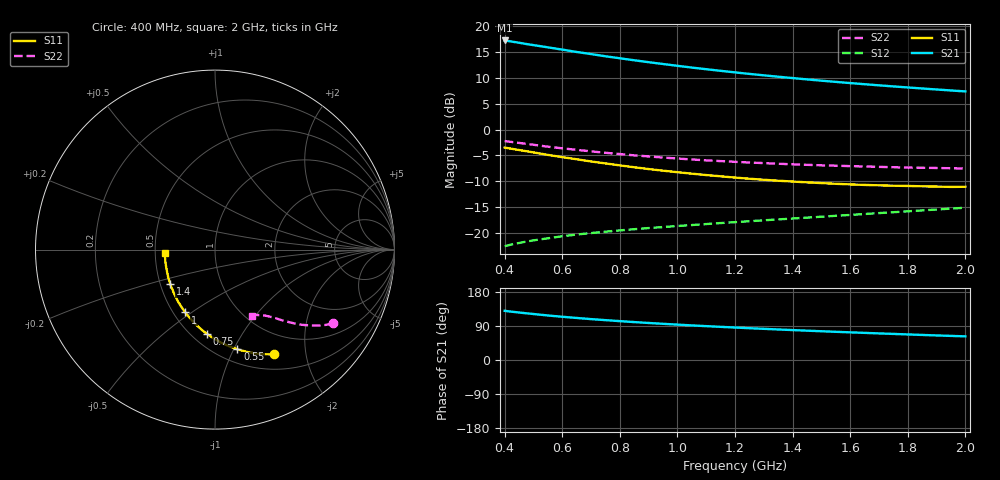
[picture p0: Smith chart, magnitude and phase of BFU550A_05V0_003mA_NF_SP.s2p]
! Filename:  P:\Prog\Test\Noise\ATS_data\Testdata_Net\06 Compressed Noise after Statistics\BFU550A_APG2013_35_C05_05p0V_003mA_NF_CM01_D.sf
! Date/Time: Tue 16/Apr/2013 15:11:29
! BFU550A_APG2013_35_C05_05p0V_1to35mA_NF_CM01_Bias3_R.sf
! Noise Parameter Data File
! BFU550A_APG2013_35_C05_05p0V_1to35mA_SP_CM01
! Date/time: Mon Apr 15 16:43:38 2013
! VAR V_out= 5.000000
! VAR I_out= 3.000000
! VAR V_in= 0.808200
! VAR I_in= 0.031405
! Device data file deembeded for feedlines and parallel
! Original file: \06 Compressed Noise after Statistics\BFU550A_APG2013_35_C05_05p0V_003mA_NF_CM01_R.sf
! Feed-files: PR017V01_150413_Feed1.s2p, PR017V01_150413_Feed2.s2p
! Parallel-file: PR017V01_150413_Par.s2p
# MHz S MA R 50
!  Freq-MHz  S11-mag  S11-arg  S21-mag  S21-arg  S12-mag  S12-arg  S22-mag  S22-arg
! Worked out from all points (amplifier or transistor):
!   37 points, 400 MHz to 2 GHz, reference 50 ohm
!   highest |S21| = 17.3 dB at 400 MHz (marker M1)
!   |S21| within 3 dB of that: start of sweep to 742.9 MHz
!   unconditionally stable (mu >= 1): 1.875 GHz to end of sweep
!   at 500 MHz: K = 0.44, MSG = 18.9 dB, |S12| = -21.4 dB
!   at 1.1 GHz: K = 0.80, MSG = 15.0 dB, |S12| = -18.3 dB
!   at 2 GHz: K = 1.01, MAG = 10.6 dB, |S12| = -15.1 dB
!   lowest NFmin = 0.53 dB at 420 MHz
!   S11 on the Smith chart (normalised r, x): 400 MHz: 0.70, -1.48; 550 MHz: 0.63, -1.03; 750 MHz: 0.59, -0.71; 1 GHz: 0.57, -0.47; 1.4 GHz: 0.56, -0.24; 2 GHz: 0.56, -0.02
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400  0.6697 -60.4  7.293 129.7  0.07448 60.1  0.7754 -32.1
440  0.6417 -65.3  7.006 126.2  0.07895 58.5  0.7498 -33.9
480  0.6156 -69.7  6.707 122.9  0.08289 57.1  0.725 -35.6
550  0.5696 -77.3  6.258 117.5  0.08885 55.2  0.6838 -38.2
600  0.5418 -82.2  5.948 114.1  0.09281 54.2  0.6593 -39.7
650  0.5166 -86.8  5.646 111.0  0.09652 53.3  0.6374 -41.0
700  0.4919 -91.3  5.384 107.9  0.09971 52.7  0.6159 -42.3
750  0.471 -95.6  5.128 105.2  0.1029 52.2  0.597 -43.3
800  0.4508 -99.8  4.904 102.6  0.1058 51.8  0.58 -44.3
850  0.4323 -104.0  4.691 100.1  0.1087 51.5  0.5637 -45.2
900  0.4153 -107.9  4.495 97.7  0.1116 51.3  0.5505 -46.0
950  0.4007 -111.7  4.316 95.5  0.114 51.3  0.5366 -46.9
1000  0.3872 -115.3  4.146 93.3  0.1167 51.3  0.5252 -47.6
1100  0.3633 -122.6  3.842 89.4  0.1219 51.5  0.5043 -48.9
1200  0.3433 -129.5  3.581 85.7  0.1272 51.8  0.4877 -50.3
1300  0.3271 -136.0  3.353 82.2  0.1325 52.3  0.4742 -51.5
1400  0.3145 -142.5  3.154 79.0  0.1379 52.8  0.4616 -52.8
1500  0.3039 -148.8  2.976 75.9  0.1436 53.3  0.4514 -54.1
1600  0.295 -154.6  2.822 73.0  0.1494 53.9  0.4435 -55.4
1750  0.2865 -163.3  2.619 68.8  0.1587 54.8  0.4328 -57.4
1850  0.2828 -168.7  2.502 66.1  0.1653 55.3  0.4275 -58.8
2000  0.2798 -176.4  2.342 62.4  0.1754 55.9  0.4209 -61.1
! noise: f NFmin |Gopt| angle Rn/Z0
400  0.553  0.3617  23.31  0.1524
460  0.5623  0.3512  30.62  0.1412
600  0.6179  0.3489  33.93  0.1551
800  0.641  0.3223  54.61  0.1246
1000  0.6636  0.3288  67.77  0.1147
1200  0.7116  0.3175  80.72  0.1101
1400  0.7481  0.3075  94.27  0.0984
1600  0.7844  0.2774  109.7  0.0905
1800  0.7434  0.3144  129.7  0.0697
2000  0.7665  0.275  143.8  0.0744
